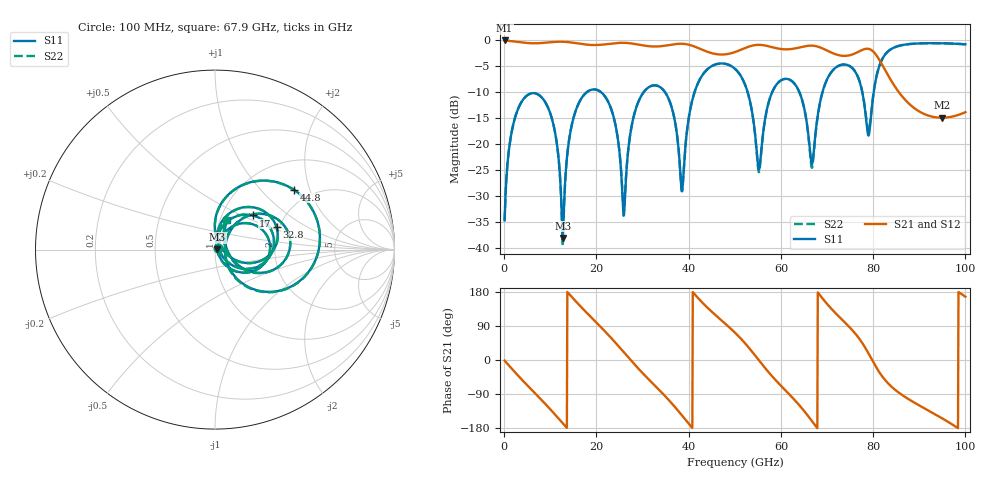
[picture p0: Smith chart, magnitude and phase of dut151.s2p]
! Touchstone file exported from HFSS 2026.1.0
!  File:  C:/ffzhzh/LocalFiles/Ansys_Project_Files/temp_train_TSV_RDL_151_1783644811_26216.aedt
!  Generated:  09:01:55 AM Jul 10, 2026
!  Design:  TSV_RDL
!  Project:  temp_train_TSV_RDL_151_1783644811_26216
! Variables:
!  h_bsmrdl = 2.74um
!  h_ox = 20um
!  h_rdl = 5um
!  h_sub = 93.28um
!  h_tmrdl = 3.39um
!  h_tsv = 93.28um
!  h_via = 3um
!  l_bsmrdl = 375.24um
!  l_sub = 4187.71um
!  l_tmrdl = 623.01um
!  m_sub = 200um
!  pitch = 47.16um
!  r_tsv = 14.29um
!  s_tmrdl = 10um
!  w_bsmrdl = 27.65um
!  w_sub = 500um
!  w_tmrdl = 29um
!  x_tsv_center1 = 637.51um
!  x_tsv_center2 = 1040.4um
!  x_tsv_center3 = 1692.41um
!  x_tsv_center4 = 2095.3um
!  x_tsv_center5 = 2747.31um
!  x_tsv_center6 = 3150.2um
# GHz S MA R 50.000000
! Terminal data exported
! Port[1] = TM_RDL1_1_T1
! Port[2] = TM_RDL5_1_T1
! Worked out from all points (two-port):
!   1000 points, 100 MHz to 100 GHz, reference 50 ohm
!   highest |S21| = -0.14 dB at 100 MHz (marker M1); lowest = -15.0 dB at 94.9 GHz (marker M2)
!   |S21| within 3 dB of the highest: start of sweep to 80.83 GHz
!   lowest |S11| = -38.0 dB at 12.7 GHz (marker M3), VSWR 1.03, Z = 51.3 + j0.187 ohm
!   |S11| at or under -10 dB: start of sweep to 18.01 GHz; 20.92 GHz to 30.3 GHz (9.386 GHz wide, 36.6 % of centre); 34.83 GHz to 41.3 GHz (6.474 GHz wide, 17 % of centre) (the widest 3 of 6)
!   |S22| runs from -39.6 to -0.7 dB; largest |S21 - S12| = 6.3e-14
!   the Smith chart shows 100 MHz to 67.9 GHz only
!   S11 on the Smith chart (normalised r, x): 100 MHz: 1.03, +0.02; 17 GHz: 1.40, +0.58; 32.8 GHz: 1.94, +0.56; 44.8 GHz: 1.63, +1.57; 67.9 GHz: 1.08, +0.36
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0.1  0.01845 31.4  0.9845 -1.5  0.9845 -1.5  0.01845 31.4
! Gamma 0 0 0 0
! Port Impedance 50 0 50 0
2.2  0.1689 52.0  0.9627 -30.3  0.9627 -30.3  0.1689 51.9
6.5  0.3071 1.5  0.9247 -85.3  0.9247 -85.3  0.3071 1.3
12.7  0.01252 8.4  0.9569 -166.8  0.9569 -166.8  0.01045 7.6
16.8  0.2758 44.4  0.9101 138.4  0.9101 138.4  0.2756 44.9
17  0.284 42.1  0.9075 135.9  0.9075 135.9  0.2839 42.5
22.9  0.2347 -26.5  0.9146 62.1  0.9146 62.1  0.2348 -25.9
25.9  0.02043 9.8  0.9348 21.1  0.9348 21.1  0.02248 10.9
32.8  0.3648 19.9  0.8613 -69.0  0.8613 -69.0  0.3649 19.8
33.4  0.3591 13.2  0.8631 -76.4  0.8631 -76.4  0.3592 13.0
38.6  0.03518 40.3  0.9151 -146.9  0.9151 -146.9  0.03556 40.0
44.8  0.5515 37.3  0.748 129.8  0.748 129.8  0.5514 37.1
50.1  0.5238 -16.1  0.7633 71.5  0.7633 71.5  0.5235 -16.5
56  0.1121 48.1  0.8888 -12.6  0.8888 -12.6  0.1107 49.3
61.7  0.4171 1.1  0.8102 -89.1  0.8102 -89.1  0.4169 1.0
66.7  0.06402 13.0  0.8782 -160.6  0.8782 -160.6  0.05904 12.7
67.9  0.1763 67.3  0.8616 -180.0  0.8616 -180.0  0.1743 69.1
75.9  0.5091 -13.0  0.7341 73.0  0.7341 73.0  0.5098 -12.0
79  0.1202 13.1  0.818 17.3  0.818 17.3  0.1312 13.6
83.4  0.7846 18.5  0.4422 -63.6  0.4422 -63.6  0.7856 18.1
94.9  0.9251 -63.7  0.1785 -153.6  0.1785 -153.6  0.9251 -63.6
100  0.9046 -101.3  0.2018 167.0  0.2018 167.0  0.9044 -101.2
